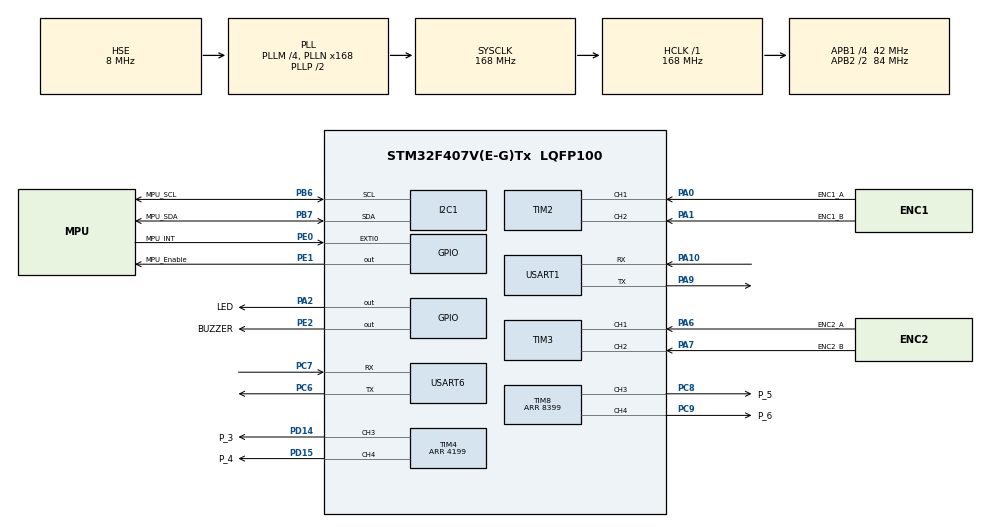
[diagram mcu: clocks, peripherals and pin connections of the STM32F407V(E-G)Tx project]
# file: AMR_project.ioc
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Dma.Request0=USART1_RX
Dma.USART1_RX.0.Direction=DMA_PERIPH_TO_MEMORY
Dma.USART1_RX.0.FIFOMode=DMA_FIFOMODE_DISABLE
Dma.USART1_RX.0.Instance=DMA2_Stream2
Dma.USART1_RX.0.MemDataAlignment=DMA_MDATAALIGN_BYTE
Dma.USART1_RX.0.MemInc=DMA_MINC_ENABLE
Dma.USART1_RX.0.Mode=DMA_NORMAL
Dma.USART1_RX.0.PeriphDataAlignment=DMA_PDATAALIGN_BYTE
Dma.USART1_RX.0.PeriphInc=DMA_PINC_DISABLE
Dma.USART1_RX.0.Priority=DMA_PRIORITY_LOW
I2C1.I2C_Mode=I2C_Fast
Mcu.Family=STM32F4
Mcu.Name=STM32F407V(E-G)Tx
Mcu.Package=LQFP100
NVIC.DMA2_Stream2_IRQn=true\:0\:0\:false\:false\:true\:false\:true\:true
NVIC.EXTI0_IRQn=true\:0\:0\:false\:false\:true\:true\:true\:true
NVIC.PriorityGroup=NVIC_PRIORITYGROUP_4
NVIC.TIM2_IRQn=true\:0\:0\:false\:false\:true\:true\:true\:true
NVIC.TIM3_IRQn=true\:0\:0\:false\:false\:true\:true\:true\:true
NVIC.TIM5_IRQn=true\:0\:0\:false\:false\:true\:true\:true\:true
NVIC.USART1_IRQn=true\:0\:0\:false\:false\:true\:true\:true\:true
NVIC.USART6_IRQn=true\:0\:0\:false\:false\:true\:true\:true\:true
PA0-WKUP.GPIO_Label=ENC1_A
PA0-WKUP.Signal=S_TIM2_CH1_ETR
PA1.GPIO_Label=ENC1_B
PA1.Signal=S_TIM2_CH2
PA10.Mode=Asynchronous
PA10.Signal=USART1_RX
PA2.GPIO_Label=LED
PA2.Signal=GPIO_Output
PA6.GPIO_Label=ENC2_A
PA6.Signal=S_TIM3_CH1
PA7.GPIO_Label=ENC2_B
PA7.Signal=S_TIM3_CH2
PA9.Mode=Asynchronous
PA9.Signal=USART1_TX
PB6.GPIO_Label=MPU_SCL
PB6.Mode=I2C
PB6.Signal=I2C1_SCL
PB7.GPIO_Label=MPU_SDA
PB7.Mode=I2C
PB7.Signal=I2C1_SDA
PC6.Mode=Asynchronous
PC6.Signal=USART6_TX
PC7.Mode=Asynchronous
PC7.Signal=USART6_RX
PC8.GPIO_Label=P_5
PC8.Signal=S_TIM8_CH3
PC9.GPIO_Label=P_6
PC9.Signal=S_TIM8_CH4
PD14.GPIO_Label=P_3
PD14.Signal=S_TIM4_CH3
PD15.GPIO_Label=P_4
PD15.Signal=S_TIM4_CH4
PE0.GPIO_Label=MPU_INT
PE0.Signal=GPXTI0
PE1.GPIO_Label=MPU_Enable
PE1.Signal=GPIO_Output
PE2.GPIO_Label=BUZZER
PE2.Signal=GPIO_Output
PH0-OSC_IN.Mode=HSE-External-Oscillator
PH0-OSC_IN.Signal=RCC_OSC_IN
PH1-OSC_OUT.Mode=HSE-External-Oscillator
PH1-OSC_OUT.Signal=RCC_OSC_OUT
ProjectManager.HeapSize=0x200
ProjectManager.StackSize=0x400
ProjectManager.TargetToolchain=MDK-ARM V5.32
RCC.48MHZClocksFreq_Value=84000000
RCC.AHBFreq_Value=168000000
RCC.APB1CLKDivider=RCC_HCLK_DIV4
RCC.APB1Freq_Value=42000000
RCC.APB1TimFreq_Value=84000000
RCC.APB2CLKDivider=RCC_HCLK_DIV2
RCC.APB2Freq_Value=84000000
RCC.APB2TimFreq_Value=168000000
RCC.CortexFreq_Value=168000000
RCC.HCLKFreq_Value=168000000
RCC.HSE_VALUE=8000000
RCC.HSI_VALUE=16000000
RCC.LSE_VALUE=32768
RCC.PLLM=4
RCC.PLLN=168
RCC.PLLSourceVirtual=RCC_PLLSOURCE_HSE
RCC.SYSCLKFreq_VALUE=168000000
RCC.SYSCLKSource=RCC_SYSCLKSOURCE_PLLCLK
RCC.VCOOutputFreq_Value=336000000
SH.S_TIM2_CH1_ETR.0=TIM2_CH1,Encoder_Interface
SH.S_TIM2_CH2.0=TIM2_CH2,Encoder_Interface
SH.S_TIM3_CH1.0=TIM3_CH1,Encoder_Interface
SH.S_TIM3_CH2.0=TIM3_CH2,Encoder_Interface
SH.S_TIM4_CH3.0=TIM4_CH3,PWM Generation3 CH3
SH.S_TIM4_CH4.0=TIM4_CH4,PWM Generation4 CH4
SH.S_TIM8_CH3.0=TIM8_CH3,PWM Generation3 CH3
SH.S_TIM8_CH4.0=TIM8_CH4,PWM Generation4 CH4
TIM2.EncoderMode=TIM_ENCODERMODE_TI12
TIM3.EncoderMode=TIM_ENCODERMODE_TI12
TIM4.Channel-PWM\ Generation3\ CH3=TIM_CHANNEL_3
TIM4.Channel-PWM\ Generation4\ CH4=TIM_CHANNEL_4
TIM4.Period=4199
TIM5.Period=99
TIM5.Prescaler=8399
TIM8.Channel-PWM\ Generation3\ CH3=TIM_CHANNEL_3
TIM8.Channel-PWM\ Generation4\ CH4=TIM_CHANNEL_4
TIM8.Period=8399
USART1.VirtualMode=VM_ASYNC
USART6.VirtualMode=VM_ASYNC
VP_TIM5_VS_ClockSourceINT.Mode=Internal
board=custom

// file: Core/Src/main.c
/* USER CODE BEGIN Header */
/**
  ******************************************************************************
  * @file           : main.c
  * @brief          : Mã nguồn điều khiển AMR / Differential Drive Robot (Tối ưu hóa)
  ******************************************************************************
  */
/* USER CODE END Header */

#include "main.h"

/* USER CODE BEGIN Includes */
#include "MPU6050/mpu6050.h"
#include "encoder.h"
#include <stdio.h>
#include <math.h>
#include <string.h>
/* USER CODE END Includes */

/* USER CODE BEGIN PTD */
typedef struct {
    float Kp;
    float Ki;
    float Kd;
    float alpha_d;
} PID_Config_t;
/* USER CODE END PTD */

/* USER CODE BEGIN PD */
#define ARR_MAX_L       4199
#define PID_LIMIT_L     ARR_MAX_L

#define ARR_MAX_R       2099
#define PID_LIMIT_R     ARR_MAX_R

#define OFFSET_PWM_L    320.0f
#define OFFSET_PWM_R    90.0f

#define Ts              0.01f   // Chu kỳ lấy mẫu 10ms
#define ARR_MIN         10
#define Base_Link       0.31548f
#define WHEEL_RADIUS    0.05f
#define DEG_TO_RAD      0.0174532925f
/* USER CODE END PD */

I2C_HandleTypeDef hi2c1;

TIM_HandleTypeDef htim2;
TIM_HandleTypeDef htim3;
TIM_HandleTypeDef htim4;
TIM_HandleTypeDef htim5;
TIM_HandleTypeDef htim8;

UART_HandleTypeDef huart1;
UART_HandleTypeDef huart6;
DMA_HandleTypeDef hdma_usart1_rx;

/* USER CODE BEGIN PV */
uint8_t buzzer_done_flag = 0;

/*=========================== MPU6050 PARAMETERS =============================*/
extern volatile float Final_Gyro_Z;
extern signed char Is_Calibrated;
extern float Robot_Yaw;
volatile signed char mpu_data_ready_flag = 0;

/*=========================== ENCODER PARAMETERS =============================*/
Encoder_t LeftEncoder;
Encoder_t RightEncoder;

float left_rad_raw, left_vel_raw;
float left_rad_filt = 0.0f, left_vel_filt = 0.0f;
float alpha_vel_left = 0.3f;

float right_rad_raw, right_vel_raw;
float right_rad_filt = 0.0f, right_vel_filt = 0.0f;
float alpha_vel_right = 0.3f;

/*=========================== PI VELOCITY PARAMETERS =========================*/
volatile uint8_t pid_trigger = 0;

// Motor Trái
float Kp_L = 260.0f;
float Ki_L = 3800.0f;
float Kb_L = 0.0f;

float error_sat_p_L = 0.0f;
float error_sat_L = 0.0f;

float ui_p_L = 0.0f;

volatile int16_t motor_L_output = 0;
volatile float setpoint_L = 0.0f;

// Motor Phải
float Kp_R = 145.0f;
float Ki_R = 3500.0f;
float Kb_R = 0.0f;

float error_sat_p_R = 0.0f;
float error_sat_R = 0.0f;

float ui_p_R = 0.0f;

volatile int16_t motor_R_output = 0;
volatile float setpoint_R = 0.0f;

/*=========================== PID ANGLE PARAMETERS ===========================*/
float Kp_angle = 0.1f;
float Ki_angle = 0.0f;
float Kd_angle = 0.0f;
float Kb_angle = 0.0f;

float alpha_d_angle = 0.15f;
float angle_error = 0.0f;
float angle_last_error = 0.0f;
float angle_integral = 0.0f;

const float PID_LIMIT_ANGLE = 20.0f;
float error_sat_p_angle = 0.0f;
float last_ud_f_angle = 0.0f;

/*=========================== UART & ODOMETRY ===============================*/
// Rx UART1 (Control Command)
uint8_t rxFrame[10];
uint8_t uart_flag = 0;
float linear_x = 0.0f, angular_z = 0.0f;
volatile uint16_t uart_timeout_counter = 0;

// Tx UART6 (Odometry Data)
uint8_t txFrame[14];
float x = 0.0f, y = 0.0f;
float omega = 0.0f, theta = 0.0f;

/* USER CODE END PV */

void SystemClock_Config(void);
static void MX_GPIO_Init(void);
static void MX_DMA_Init(void);
static void MX_USART1_UART_Init(void);
static void MX_I2C1_Init(void);
static void MX_TIM2_Init(void);
static void MX_TIM3_Init(void);
static void MX_TIM4_Init(void);
static void MX_TIM8_Init(void);
static void MX_TIM5_Init(void);
static void MX_USART6_UART_Init(void);

/* USER CODE BEGIN PFP */
void encoder_process(void);
void PI_vel(float rad_L, float rad_R);
float PID_angle(float setpoint, float feedback, float dt);
void Set_Motor(int16_t left_output, int16_t right_output);
void AMR_Teleop_Process(void);
void Update_Odometry(void);
void UART6_Send_Odom(float x_pos, float y_pos, float theta_pos);
void Read_DMP(void);
/* USER CODE END PFP */

/* USER CODE BEGIN 0 */

/* ========================================================================== */
/*                          INTERRUPT CALLBACKS                               */
/* ========================================================================== */

// Ngắt EXTI MPU6050 (Data Ready)
void HAL_GPIO_EXTI_Callback(uint16_t GPIO_Pin)
{
    if (GPIO_Pin == MPU_INT_Pin)
    {
        mpu_data_ready_flag = 1;
    }
}

// Ngắt Timer 5 chu kỳ 10ms (Control Loop Trigger)
void HAL_TIM_PeriodElapsedCallback(TIM_HandleTypeDef *htim)
{
    if (htim->Instance == TIM5)
    {
        pid_trigger = 1;
    }
}

// Ngắt Nhận UART DMA Idle (Lấy lệnh điều khiển)
void HAL_UARTEx_RxEventCallback(UART_HandleTypeDef *huart, uint16_t Size)
{
    if (huart->Instance == USART1)
    {
        HAL_UARTEx_ReceiveToIdle_DMA(&huart1, rxFrame, 10);
        __HAL_DMA_DISABLE_IT(&hdma_usart1_rx, DMA_IT_HT);
        uart_flag = 1;

        if (rxFrame[0] == 0xAA && rxFrame[9] == 0x0D)
        {
            uint8_t *p;

            p = (uint8_t *)&linear_x;
            p[0] = rxFrame[1]; p[1] = rxFrame[2]; p[2] = rxFrame[3]; p[3] = rxFrame[4];

            p = (uint8_t *)&angular_z;
            p[0] = rxFrame[5]; p[1] = rxFrame[6]; p[2] = rxFrame[7]; p[3] = rxFrame[8];

            uart_timeout_counter = 0;
        }
    }
}

/* ========================================================================== */
/*                       ROBOT CONTROL & PROCESSING                           */
/* ========================================================================== */

// Tính vận tốc bánh xe từ xung Encoder
void encoder_process(void)
{
    Encoder_Update(&LeftEncoder);
    Encoder_Update(&RightEncoder);

    left_rad_raw  = LeftEncoder.speed_rad_s;
    left_vel_raw  = LeftEncoder.velocity_m_s;
    left_rad_filt = (alpha_vel_left * left_rad_raw) + ((1.0f - alpha_vel_left) * left_rad_filt);
    left_vel_filt = (alpha_vel_left * left_vel_raw) + ((1.0f - alpha_vel_left) * left_vel_filt);

    right_rad_raw  = RightEncoder.speed_rad_s;
    right_vel_raw  = RightEncoder.velocity_m_s;
    right_rad_filt = (alpha_vel_right * right_rad_raw) + ((1.0f - alpha_vel_right) * right_rad_filt);
    right_vel_filt = (alpha_vel_right * right_vel_raw) + ((1.0f - alpha_vel_right) * right_vel_filt);
}

// Bộ điều khiển PI Vận tốc động cơ
void PI_vel(float rad_L, float rad_R)
{
    static uint8_t was_running_L = 0;
    static uint8_t was_running_R = 0;

    // ------------------ 1. BÁNH TRÁI ------------------
    if (fabsf(setpoint_L) > 0.05f)
    {
        if (!was_running_L)
        {
            ui_p_L = 0.0f;
            error_sat_p_L = 0.0f;
            was_running_L = 1;
        }

        float offset_L = (setpoint_L > 0.0f) ? OFFSET_PWM_L : -OFFSET_PWM_L;
        float error_L = setpoint_L - rad_L;
        float up_L = Kp_L * error_L;
        float ui_L = ui_p_L + Ts * (Ki_L * error_L + Kb_L * error_sat_p_L);

        float out_L_raw = offset_L + up_L + ui_L;

        if (out_L_raw > PID_LIMIT_L) {
            motor_L_output = PID_LIMIT_L;
            error_sat_L = PID_LIMIT_L - out_L_raw;
        } else if (out_L_raw < -PID_LIMIT_L) {
            motor_L_output = -PID_LIMIT_L;
            error_sat_L = -PID_LIMIT_L - out_L_raw;
        } else {
            motor_L_output = (int16_t)out_L_raw;
            error_sat_L = 0.0f;
        }

        ui_p_L = ui_L;
        error_sat_p_L = error_sat_L;
    }
    else
    {
        motor_L_output = 0;
        ui_p_L = 0.0f;
        error_sat_p_L = 0.0f;
        was_running_L = 0;
    }

    // ------------------ 2. BÁNH PHẢI ------------------
    if (fabsf(setpoint_R) > 0.05f)
    {
        if (!was_running_R)
        {
            ui_p_R = 0.0f;
            error_sat_p_R = 0.0f;
            was_running_R = 1;
        }

        float offset_R = (setpoint_R > 0.0f) ? OFFSET_PWM_R : -OFFSET_PWM_R;
        float error_R = setpoint_R - rad_R;
        float up_R = Kp_R * error_R;
        float ui_R = ui_p_R + Ts * (Ki_R * error_R + Kb_R * error_sat_p_R);

        float out_R_raw = offset_R + up_R + ui_R;

        if (out_R_raw > PID_LIMIT_R) {
            motor_R_output = PID_LIMIT_R;
            error_sat_R = PID_LIMIT_R - out_R_raw;
        } else if (out_R_raw < -PID_LIMIT_R) {
            motor_R_output = -PID_LIMIT_R;
            error_sat_R = -PID_LIMIT_R - out_R_raw;
        } else {
            motor_R_output = (int16_t)out_R_raw;
            error_sat_R = 0.0f;
        }

        ui_p_R = ui_R;
        error_sat_p_R = error_sat_R;
    }
    else
    {
        motor_R_output = 0;
        ui_p_R = 0.0f;
        error_sat_p_R = 0.0f;
        was_running_R = 0;
    }
}

// Bộ điều khiển PID Góc Hướng
//float PID_angle(float setpoint, float feedback, float dt)
//{
//    angle_error = setpoint - feedback;

//    while (angle_error > 180.0f)  angle_error -= 360.0f;
//    while (angle_error < -180.0f) angle_error += 360.0f;

//    float up_angle = Kp_angle * angle_error;
//    float ui_angle = angle_integral + dt * (Ki_angle * angle_error + Kb_angle * error_sat_p_angle);
//    float ud_angle_raw = Kd_angle * (angle_error - angle_last_error) / dt;

//    float ud_angle_filtered = (alpha_d_angle * ud_angle_raw) + ((1.0f - alpha_d_angle) * last_ud_f_angle);
//    last_ud_f_angle = ud_angle_filtered;

//    float out_angle_raw = up_angle + ui_angle + ud_angle_filtered;
//    float angle_output = 0.0f;
//    float error_sat_angle = 0.0f;

//    if (out_angle_raw > PID_LIMIT_ANGLE) {
//        angle_output = PID_LIMIT_ANGLE;
//        error_sat_angle = PID_LIMIT_ANGLE - out_angle_raw;
//    }
//    else if (out_angle_raw < -PID_LIMIT_ANGLE) {
//        angle_output = -PID_LIMIT_ANGLE;
//        error_sat_angle = -PID_LIMIT_ANGLE - out_angle_raw;
//    }
//    else {
//        angle_output = out_angle_raw;
//        error_sat_angle = 0.0f;
//    }

//    angle_integral = ui_angle;
//    error_sat_p_angle = error_sat_angle;
//    angle_last_error = angle_error;

//    return angle_output;
//}

// Xuất PWM tới Cầu H Động Cơ
void Set_Motor(int16_t left_output, int16_t right_output)
{
    // Động cơ Trái (TIM8 CH3/CH4)
    if (left_output >= 0) {
        if (left_output > ARR_MAX_L) left_output = ARR_MAX_L;
        TIM8->CCR3 = ARR_MIN;
        TIM8->CCR4 = left_output;
    } else {
        left_output = -left_output;
        if (left_output > ARR_MAX_L) left_output = ARR_MAX_L;
        TIM8->CCR3 = left_output;
        TIM8->CCR4 = ARR_MIN;
    }

    // Động cơ Phải (TIM4 CH3/CH4)
    if (right_output >= 0) {
        if (right_output > ARR_MAX_R) right_output = ARR_MAX_R;
        TIM4->CCR3 = right_output;
        TIM4->CCR4 = ARR_MIN;
    } else {
        right_output = -right_output;
        if (right_output > ARR_MAX_R) right_output = ARR_MAX_R;
        TIM4->CCR3 = ARR_MIN;
        TIM4->CCR4 = right_output;
    }
}

// Xử lý Teleop (Chuyển đổi v_robot, omega -> v_wheel)
void AMR_Teleop_Process(void)
{
    // Kiểm tra Timeout An toàn (Mất kết nối quá 200ms -> Dừng)
    uart_timeout_counter += 10;
    if (uart_timeout_counter > 200)
    {
        linear_x  = 0.0f;
        angular_z = 0.0f;
    }

    // Kinematics Differential Drive
    float v_left_m_s  = linear_x - (angular_z * Base_Link * 0.5f);
    float v_right_m_s = linear_x + (angular_z * Base_Link * 0.5f);

    setpoint_L = v_left_m_s / WHEEL_RADIUS;
    setpoint_R = v_right_m_s / WHEEL_RADIUS;
}

// Cập nhật vị trí Odometry (X, Y, Theta)
void Update_Odometry(void)
{
    omega = Final_Gyro_Z * DEG_TO_RAD;
    theta = Robot_Yaw * DEG_TO_RAD;

    float v_robot = (left_vel_filt + right_vel_filt) / 2.0f;

    x += v_robot * cosf(theta) * Ts;
    y += v_robot * sinf(theta) * Ts;

    // Chuẩn hóa theta trong khoảng [-PI, PI]
    while (theta >  3.14159265f) theta -= 2.0f * 3.14159265f;
    while (theta < -3.14159265f) theta += 2.0f * 3.14159265f;
}

// Gửi Odometry qua UART6
void UART6_Send_Odom(float x_pos, float y_pos, float theta_pos)
{
    txFrame[0] = 0xAA;
    *(float*)&txFrame[1] = x_pos;
    *(float*)&txFrame[5] = y_pos;
    *(float*)&txFrame[9] = theta_pos;
    txFrame[13] = 0x0D;

    HAL_StatusTypeDef status = HAL_UART_Transmit(&huart6, txFrame, sizeof(txFrame), 10);
    if (status != HAL_OK) {
        GPIOA->ODR |= (1 << 2); // Báo lỗi truyền UART
    }
}

/* USER CODE END 0 */

int main(void)
{
  /* MCU Configuration--------------------------------------------------------*/
  HAL_Init();
  SystemClock_Config();

  /* Initialize all configured peripherals */
  MX_GPIO_Init();
  MX_DMA_Init();
  MX_USART1_UART_Init();
  MX_I2C1_Init();
  MX_TIM2_Init();
  MX_TIM3_Init();
  MX_TIM4_Init();
  MX_TIM8_Init();
  MX_TIM5_Init();
  MX_USART6_UART_Init();

  /* USER CODE BEGIN 2 */
  GPIOA->ODR &=~ (1 << 2);   // Turn ON Power LED
  GPIOE->ODR &=~ (1 << 1);   // Enable MPU6050

  MPU6050_initialize();
  DMP_Init();

  // Start PWM Motor Channels
  HAL_TIM_PWM_Start(&htim4, TIM_CHANNEL_3);
  HAL_TIM_PWM_Start(&htim4, TIM_CHANNEL_4);
  HAL_TIM_PWM_Start(&htim8, TIM_CHANNEL_3);
  HAL_TIM_PWM_Start(&htim8, TIM_CHANNEL_4);

  // Start Encoders
  Encoder_Init(&LeftEncoder, TIM2);
  Encoder_Init(&RightEncoder, TIM3);
  HAL_TIM_Encoder_Start(&htim2, TIM_CHANNEL_ALL);
  HAL_TIM_Encoder_Start(&htim3, TIM_CHANNEL_ALL);

  // Start Control Timer (10ms Interrupt)
  HAL_TIM_Base_Start_IT(&htim5);

  // Initial Anti-windup Gain
  Kb_L = Ki_L / Kp_L;
  Kb_R = Ki_R / Kp_R;
  Kb_angle = Ki_angle / Kp_angle;

  // Start DMA Receive for Teleop Control
  HAL_UARTEx_ReceiveToIdle_DMA(&huart1, rxFrame, 10);
  __HAL_DMA_DISABLE_IT(&hdma_usart1_rx, DMA_IT_HT);

  /* USER CODE END 2 */

  /* Infinite loop */
  /* USER CODE BEGIN WHILE */
  while (1)
  {
    /* 1. Xử lý dữ liệu DMP MPU6050 */
    if (mpu_data_ready_flag == 1)
    {
        mpu_data_ready_flag = 0;
        Read_DMP();
    }

    /* 2. Báo hiệu Buzz khi kết thúc Calibration */
    if (Is_Calibrated == 1 && buzzer_done_flag == 0)
    {
        buzzer_done_flag = 1;
        for (int i = 0; i < 3; i++) {
            GPIOE->ODR |= (1 << 2);
            HAL_Delay(50);
            GPIOE->ODR &=~ (1 << 2);
            HAL_Delay(50);
        }
    }

    /* 3. Khi chưa Calib xong -> Khóa xe */
    if (Is_Calibrated == 0)
    {
        setpoint_L = 0.0f;
        setpoint_R = 0.0f;
        motor_L_output = 0;
        motor_R_output = 0;
        Set_Motor(0, 0);

        if (pid_trigger == 1) {
            pid_trigger = 0;
            encoder_process();
        }
        continue;
    }

    /* 4. Vòng lặp điều khiển chính (Chạy định kỳ mỗi 10ms) */
    if (pid_trigger == 1)
    {
        pid_trigger = 0;

        encoder_process();
        Update_Odometry();
        AMR_Teleop_Process();

        PI_vel(left_rad_filt, right_rad_filt);
        Set_Motor(motor_L_output, motor_R_output);

        // Gửi Odometry định kỳ mỗi 20ms (chu kỳ 2 lần pid_trigger)
        static uint8_t send_odom_counter = 0;
        if (++send_odom_counter >= 2) {
            send_odom_counter = 0;
            UART6_Send_Odom(x, y, theta);
        }
    }
  }
  /* USER CODE END 3 */
}

/* System Initialization Functions below remain unchanged */
void SystemClock_Config(void)
{
  RCC_OscInitTypeDef RCC_OscInitStruct = {0};
  RCC_ClkInitTypeDef RCC_ClkInitStruct = {0};

  __HAL_RCC_PWR_CLK_ENABLE();
  __HAL_PWR_VOLTAGESCALING_CONFIG(PWR_REGULATOR_VOLTAGE_SCALE1);

  RCC_OscInitStruct.OscillatorType = RCC_OSCILLATORTYPE_HSE;
  RCC_OscInitStruct.HSEState = RCC_HSE_ON;
  RCC_OscInitStruct.PLL.PLLState = RCC_PLL_ON;
  RCC_OscInitStruct.PLL.PLLSource = RCC_PLLSOURCE_HSE;
  RCC_OscInitStruct.PLL.PLLM = 4;
  RCC_OscInitStruct.PLL.PLLN = 168;
  RCC_OscInitStruct.PLL.PLLP = RCC_PLLP_DIV2;
  RCC_OscInitStruct.PLL.PLLQ = 4;
  if (HAL_RCC_OscConfig(&RCC_OscInitStruct) != HAL_OK)
  {
    Error_Handler();
  }

  RCC_ClkInitStruct.ClockType = RCC_CLOCKTYPE_HCLK|RCC_CLOCKTYPE_SYSCLK
                              |RCC_CLOCKTYPE_PCLK1|RCC_CLOCKTYPE_PCLK2;
  RCC_ClkInitStruct.SYSCLKSource = RCC_SYSCLKSOURCE_PLLCLK;
  RCC_ClkInitStruct.AHBCLKDivider = RCC_SYSCLK_DIV1;
  RCC_ClkInitStruct.APB1CLKDivider = RCC_HCLK_DIV4;
  RCC_ClkInitStruct.APB2CLKDivider = RCC_HCLK_DIV2;

  if (HAL_RCC_ClockConfig(&RCC_ClkInitStruct, FLASH_LATENCY_5) != HAL_OK)
  {
    Error_Handler();
  }
}

static void MX_I2C1_Init(void)
{
  hi2c1.Instance = I2C1;
  hi2c1.Init.ClockSpeed = 400000;
  hi2c1.Init.DutyCycle = I2C_DUTYCYCLE_2;
  hi2c1.Init.OwnAddress1 = 0;
  hi2c1.Init.AddressingMode = I2C_ADDRESSINGMODE_7BIT;
  hi2c1.Init.DualAddressMode = I2C_DUALADDRESS_DISABLE;
  hi2c1.Init.OwnAddress2 = 0;
  hi2c1.Init.GeneralCallMode = I2C_GENERALCALL_DISABLE;
  hi2c1.Init.NoStretchMode = I2C_NOSTRETCH_DISABLE;
  if (HAL_I2C_Init(&hi2c1) != HAL_OK)
  {
    Error_Handler();
  }
}

static void MX_TIM2_Init(void)
{
  TIM_Encoder_InitTypeDef sConfig = {0};
  TIM_MasterConfigTypeDef sMasterConfig = {0};

  htim2.Instance = TIM2;
  htim2.Init.Prescaler = 0;
  htim2.Init.CounterMode = TIM_COUNTERMODE_UP;
  htim2.Init.Period = 4294967295;
  htim2.Init.ClockDivision = TIM_CLOCKDIVISION_DIV1;
  htim2.Init.AutoReloadPreload = TIM_AUTORELOAD_PRELOAD_DISABLE;
  sConfig.EncoderMode = TIM_ENCODERMODE_TI12;
  sConfig.IC1Polarity = TIM_ICPOLARITY_RISING;
  sConfig.IC1Selection = TIM_ICSELECTION_DIRECTTI;
  sConfig.IC1Prescaler = TIM_ICPSC_DIV1;
  sConfig.IC1Filter = 0;
  sConfig.IC2Polarity = TIM_ICPOLARITY_RISING;
  sConfig.IC2Selection = TIM_ICSELECTION_DIRECTTI;
  sConfig.IC2Prescaler = TIM_ICPSC_DIV1;
  sConfig.IC2Filter = 0;
  if (HAL_TIM_Encoder_Init(&htim2, &sConfig) != HAL_OK)
  {
    Error_Handler();
  }
  sMasterConfig.MasterOutputTrigger = TIM_TRGO_RESET;
  sMasterConfig.MasterSlaveMode = TIM_MASTERSLAVEMODE_DISABLE;
  if (HAL_TIMEx_MasterConfigSynchronization(&htim2, &sMasterConfig) != HAL_OK)
  {
    Error_Handler();
  }
}

static void MX_TIM3_Init(void)
{
  TIM_Encoder_InitTypeDef sConfig = {0};
  TIM_MasterConfigTypeDef sMasterConfig = {0};

  htim3.Instance = TIM3;
  htim3.Init.Prescaler = 0;
  htim3.Init.CounterMode = TIM_COUNTERMODE_UP;
  htim3.Init.Period = 65535;
  htim3.Init.ClockDivision = TIM_CLOCKDIVISION_DIV1;
  htim3.Init.AutoReloadPreload = TIM_AUTORELOAD_PRELOAD_DISABLE;
  sConfig.EncoderMode = TIM_ENCODERMODE_TI12;
  sConfig.IC1Polarity = TIM_ICPOLARITY_RISING;
  sConfig.IC1Selection = TIM_ICSELECTION_DIRECTTI;
  sConfig.IC1Prescaler = TIM_ICPSC_DIV1;
  sConfig.IC1Filter = 0;
  sConfig.IC2Polarity = TIM_ICPOLARITY_RISING;
  sConfig.IC2Selection = TIM_ICSELECTION_DIRECTTI;
  sConfig.IC2Prescaler = TIM_ICPSC_DIV1;
  sConfig.IC2Filter = 0;
  if (HAL_TIM_Encoder_Init(&htim3, &sConfig) != HAL_OK)
  {
    Error_Handler();
  }
  sMasterConfig.MasterOutputTrigger = TIM_TRGO_RESET;
  sMasterConfig.MasterSlaveMode = TIM_MASTERSLAVEMODE_DISABLE;
  if (HAL_TIMEx_MasterConfigSynchronization(&htim3, &sMasterConfig) != HAL_OK)
  {
    Error_Handler();
  }
}

static void MX_TIM4_Init(void)
{
  TIM_MasterConfigTypeDef sMasterConfig = {0};
  TIM_OC_InitTypeDef sConfigOC = {0};

  htim4.Instance = TIM4;
  htim4.Init.Prescaler = 0;
  htim4.Init.CounterMode = TIM_COUNTERMODE_UP;
  htim4.Init.Period = 4199;
  htim4.Init.ClockDivision = TIM_CLOCKDIVISION_DIV1;
  htim4.Init.AutoReloadPreload = TIM_AUTORELOAD_PRELOAD_DISABLE;
  if (HAL_TIM_PWM_Init(&htim4) != HAL_OK)
  {
    Error_Handler();
  }
  sMasterConfig.MasterOutputTrigger = TIM_TRGO_RESET;
  sMasterConfig.MasterSlaveMode = TIM_MASTERSLAVEMODE_DISABLE;
  if (HAL_TIMEx_MasterConfigSynchronization(&htim4, &sMasterConfig) != HAL_OK)
  {
    Error_Handler();
  }
  sConfigOC.OCMode = TIM_OCMODE_PWM1;
  sConfigOC.Pulse = 0;
  sConfigOC.OCPolarity = TIM_OCPOLARITY_HIGH;
  sConfigOC.OCFastMode = TIM_OCFAST_DISABLE;
  if (HAL_TIM_PWM_ConfigChannel(&htim4, &sConfigOC, TIM_CHANNEL_3) != HAL_OK)
  {
    Error_Handler();
  }
  if (HAL_TIM_PWM_ConfigChannel(&htim4, &sConfigOC, TIM_CHANNEL_4) != HAL_OK)
  {
    Error_Handler();
  }
  HAL_TIM_MspPostInit(&htim4);
}

static void MX_TIM5_Init(void)
{
  TIM_ClockConfigTypeDef sClockSourceConfig = {0};
  TIM_MasterConfigTypeDef sMasterConfig = {0};

  htim5.Instance = TIM5;
  htim5.Init.Prescaler = 8399;
  htim5.Init.CounterMode = TIM_COUNTERMODE_UP;
  htim5.Init.Period = 99;
  htim5.Init.ClockDivision = TIM_CLOCKDIVISION_DIV1;
  htim5.Init.AutoReloadPreload = TIM_AUTORELOAD_PRELOAD_DISABLE;
  if (HAL_TIM_Base_Init(&htim5) != HAL_OK)
  {
    Error_Handler();
  }
  sClockSourceConfig.ClockSource = TIM_CLOCKSOURCE_INTERNAL;
  if (HAL_TIM_ConfigClockSource(&htim5, &sClockSourceConfig) != HAL_OK)
  {
    Error_Handler();
  }
  sMasterConfig.MasterOutputTrigger = TIM_TRGO_RESET;
  sMasterConfig.MasterSlaveMode = TIM_MASTERSLAVEMODE_DISABLE;
  if (HAL_TIMEx_MasterConfigSynchronization(&htim5, &sMasterConfig) != HAL_OK)
  {
    Error_Handler();
  }
}

static void MX_TIM8_Init(void)
{
  TIM_MasterConfigTypeDef sMasterConfig = {0};
  TIM_OC_InitTypeDef sConfigOC = {0};
  TIM_BreakDeadTimeConfigTypeDef sBreakDeadTimeConfig = {0};

  htim8.Instance = TIM8;
  htim8.Init.Prescaler = 0;
  htim8.Init.CounterMode = TIM_COUNTERMODE_UP;
  htim8.Init.Period = 8399;
  htim8.Init.ClockDivision = TIM_CLOCKDIVISION_DIV1;
  htim8.Init.RepetitionCounter = 0;
  htim8.Init.AutoReloadPreload = TIM_AUTORELOAD_PRELOAD_DISABLE;
  if (HAL_TIM_PWM_Init(&htim8) != HAL_OK)
  {
    Error_Handler();
  }
  sMasterConfig.MasterOutputTrigger = TIM_TRGO_RESET;
  sMasterConfig.MasterSlaveMode = TIM_MASTERSLAVEMODE_DISABLE;
  if (HAL_TIMEx_MasterConfigSynchronization(&htim8, &sMasterConfig) != HAL_OK)
  {
    Error_Handler();
  }
  sConfigOC.OCMode = TIM_OCMODE_PWM1;
  sConfigOC.Pulse = 0;
  sConfigOC.OCPolarity = TIM_OCPOLARITY_HIGH;
  sConfigOC.OCNPolarity = TIM_OCNPOLARITY_HIGH;
  sConfigOC.OCFastMode = TIM_OCFAST_DISABLE;
  sConfigOC.OCIdleState = TIM_OCIDLESTATE_RESET;
  sConfigOC.OCNIdleState = TIM_OCNIDLESTATE_RESET;
  if (HAL_TIM_PWM_ConfigChannel(&htim8, &sConfigOC, TIM_CHANNEL_3) != HAL_OK)
  {
    Error_Handler();
  }
  if (HAL_TIM_PWM_ConfigChannel(&htim8, &sConfigOC, TIM_CHANNEL_4) != HAL_OK)
  {
    Error_Handler();
  }
  sBreakDeadTimeConfig.OffStateRunMode = TIM_OSSR_DISABLE;
  sBreakDeadTimeConfig.OffStateIDLEMode = TIM_OSSI_DISABLE;
  sBreakDeadTimeConfig.LockLevel = TIM_LOCKLEVEL_OFF;
  sBreakDeadTimeConfig.DeadTime = 0;
  sBreakDeadTimeConfig.BreakState = TIM_BREAK_DISABLE;
  sBreakDeadTimeConfig.BreakPolarity = TIM_BREAKPOLARITY_HIGH;
  sBreakDeadTimeConfig.AutomaticOutput = TIM_AUTOMATICOUTPUT_DISABLE;
  if (HAL_TIMEx_ConfigBreakDeadTime(&htim8, &sBreakDeadTimeConfig) != HAL_OK)
  {
    Error_Handler();
  }
  HAL_TIM_MspPostInit(&htim8);
}

static void MX_USART1_UART_Init(void)
{
  huart1.Instance = USART1;
  huart1.Init.BaudRate = 115200;
  huart1.Init.WordLength = UART_WORDLENGTH_8B;
  huart1.Init.StopBits = UART_STOPBITS_1;
  huart1.Init.Parity = UART_PARITY_NONE;
  huart1.Init.Mode = UART_MODE_TX_RX;
  huart1.Init.HwFlowCtl = UART_HWCONTROL_NONE;
  huart1.Init.OverSampling = UART_OVERSAMPLING_16;
  if (HAL_UART_Init(&huart1) != HAL_OK)
  {
    Error_Handler();
  }
}

static void MX_USART6_UART_Init(void)
{
  huart6.Instance = USART6;
  huart6.Init.BaudRate = 115200;
  huart6.Init.WordLength = UART_WORDLENGTH_8B;
  huart6.Init.StopBits = UART_STOPBITS_1;
  huart6.Init.Parity = UART_PARITY_NONE;
  huart6.Init.Mode = UART_MODE_TX_RX;
  huart6.Init.HwFlowCtl = UART_HWCONTROL_NONE;
  huart6.Init.OverSampling = UART_OVERSAMPLING_16;
  if (HAL_UART_Init(&huart6) != HAL_OK)
  {
    Error_Handler();
  }
}

static void MX_DMA_Init(void)
{
  __HAL_RCC_DMA2_CLK_ENABLE();

  HAL_NVIC_SetPriority(DMA2_Stream2_IRQn, 0, 0);
  HAL_NVIC_EnableIRQ(DMA2_Stream2_IRQn);
}

static void MX_GPIO_Init(void)
{
  GPIO_InitTypeDef GPIO_InitStruct = {0};

  __HAL_RCC_GPIOE_CLK_ENABLE();
  __HAL_RCC_GPIOH_CLK_ENABLE();
  __HAL_RCC_GPIOA_CLK_ENABLE();
  __HAL_RCC_GPIOD_CLK_ENABLE();
  __HAL_RCC_GPIOC_CLK_ENABLE();
  __HAL_RCC_GPIOB_CLK_ENABLE();

  HAL_GPIO_WritePin(GPIOE, BUZZER_Pin|MPU_Enable_Pin, GPIO_PIN_RESET);
  HAL_GPIO_WritePin(LED_GPIO_Port, LED_Pin, GPIO_PIN_RESET);

  GPIO_InitStruct.Pin = BUZZER_Pin|MPU_Enable_Pin;
  GPIO_InitStruct.Mode = GPIO_MODE_OUTPUT_PP;
  GPIO_InitStruct.Pull = GPIO_NOPULL;
  GPIO_InitStruct.Speed = GPIO_SPEED_FREQ_LOW;
  HAL_GPIO_Init(GPIOE, &GPIO_InitStruct);

  GPIO_InitStruct.Pin = LED_Pin;
  GPIO_InitStruct.Mode = GPIO_MODE_OUTPUT_PP;
  GPIO_InitStruct.Pull = GPIO_NOPULL;
  GPIO_InitStruct.Speed = GPIO_SPEED_FREQ_LOW;
  HAL_GPIO_Init(LED_GPIO_Port, &GPIO_InitStruct);

  GPIO_InitStruct.Pin = MPU_INT_Pin;
  GPIO_InitStruct.Mode = GPIO_MODE_IT_RISING;
  GPIO_InitStruct.Pull = GPIO_NOPULL;
  HAL_GPIO_Init(MPU_INT_GPIO_Port, &GPIO_InitStruct);

  HAL_NVIC_SetPriority(EXTI0_IRQn, 0, 0);
  HAL_NVIC_EnableIRQ(EXTI0_IRQn);
}

void Error_Handler(void)
{
  __disable_irq();
  while (1)
  {
  }
}
